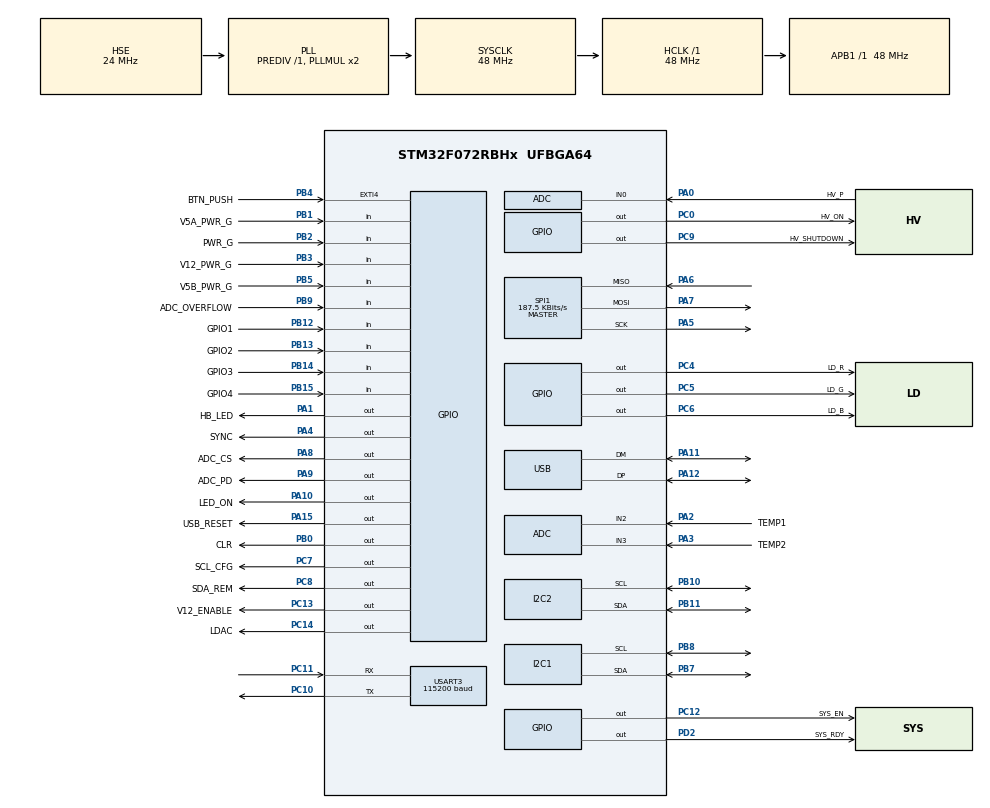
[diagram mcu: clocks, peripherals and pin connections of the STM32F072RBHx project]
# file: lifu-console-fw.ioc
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ADC.ClockPrescaler=ADC_CLOCK_SYNC_PCLK_DIV4
ADC.ContinuousConvMode=ENABLE
ADC.SamplingTime=ADC_SAMPLETIME_28CYCLES_5
Dma.Request0=USART3_RX
Dma.Request1=USART3_TX
Dma.Request2=TIM16_CH1/UP
Dma.TIM16_CH1/UP.2.Direction=DMA_PERIPH_TO_MEMORY
Dma.TIM16_CH1/UP.2.Instance=DMA1_Channel4
Dma.TIM16_CH1/UP.2.MemDataAlignment=DMA_MDATAALIGN_HALFWORD
Dma.TIM16_CH1/UP.2.MemInc=DMA_MINC_ENABLE
Dma.TIM16_CH1/UP.2.Mode=DMA_NORMAL
Dma.TIM16_CH1/UP.2.PeriphDataAlignment=DMA_PDATAALIGN_HALFWORD
Dma.TIM16_CH1/UP.2.PeriphInc=DMA_PINC_DISABLE
Dma.TIM16_CH1/UP.2.Priority=DMA_PRIORITY_LOW
Dma.USART3_RX.0.Direction=DMA_PERIPH_TO_MEMORY
Dma.USART3_RX.0.Instance=DMA1_Channel3
Dma.USART3_RX.0.MemDataAlignment=DMA_MDATAALIGN_BYTE
Dma.USART3_RX.0.MemInc=DMA_MINC_ENABLE
Dma.USART3_RX.0.Mode=DMA_NORMAL
Dma.USART3_RX.0.PeriphDataAlignment=DMA_PDATAALIGN_BYTE
Dma.USART3_RX.0.PeriphInc=DMA_PINC_DISABLE
Dma.USART3_RX.0.Priority=DMA_PRIORITY_LOW
Dma.USART3_TX.1.Direction=DMA_MEMORY_TO_PERIPH
Dma.USART3_TX.1.Instance=DMA1_Channel2
Dma.USART3_TX.1.MemDataAlignment=DMA_MDATAALIGN_BYTE
Dma.USART3_TX.1.MemInc=DMA_MINC_ENABLE
Dma.USART3_TX.1.Mode=DMA_NORMAL
Dma.USART3_TX.1.PeriphDataAlignment=DMA_PDATAALIGN_BYTE
Dma.USART3_TX.1.PeriphInc=DMA_PINC_DISABLE
Dma.USART3_TX.1.Priority=DMA_PRIORITY_LOW
I2C1.Timing=0x00201D2B
I2C2.I2C_Fall_Time=100
I2C2.I2C_Rise_Time=100
I2C2.Timing=0x10805D88
IWDG.Prescaler=IWDG_PRESCALER_64
IWDG.Reload=3125
Mcu.Family=STM32F0
Mcu.Name=STM32F072RBHx
Mcu.Package=UFBGA64
NVIC.DMA1_Channel2_3_IRQn=true\:0\:0\:false\:false\:true\:false\:true\:true
NVIC.DMA1_Channel4_5_6_7_IRQn=true\:0\:0\:false\:false\:true\:false\:true\:true
NVIC.I2C1_IRQn=true\:0\:0\:false\:false\:true\:true\:true\:true
NVIC.I2C2_IRQn=true\:0\:0\:false\:false\:true\:true\:true\:true
NVIC.TIM14_IRQn=true\:0\:0\:false\:false\:true\:true\:true\:true
NVIC.TIM15_IRQn=true\:3\:0\:false\:false\:true\:false\:true\:true
NVIC.TIM16_IRQn=true\:0\:0\:false\:false\:true\:true\:true\:true
NVIC.TIM17_IRQn=true\:0\:0\:false\:false\:true\:true\:true\:true
NVIC.TIM1_BRK_UP_TRG_COM_IRQn=true\:0\:0\:false\:false\:true\:true\:true\:true
NVIC.TIM1_CC_IRQn=true\:0\:0\:false\:false\:true\:true\:true\:true
NVIC.TIM6_DAC_IRQn=true\:0\:0\:false\:false\:true\:true\:true\:true
NVIC.TimeBase=TIM15_IRQn
NVIC.TimeBaseIP=TIM15
NVIC.USART3_4_IRQn=true\:0\:0\:false\:false\:true\:true\:true\:true
NVIC.USB_IRQn=true\:0\:0\:false\:false\:true\:false\:true\:true
PA0.GPIO_Label=HV_P
PA0.Mode=IN0
PA0.Signal=ADC_IN0
PA1.GPIO_Label=HB_LED
PA1.Signal=GPIO_Output
PA10.GPIO_Label=LED_ON
PA10.Signal=GPIO_Output
PA11.Mode=Device
PA11.Signal=USB_DM
PA12.Mode=Device
PA12.Signal=USB_DP
PA13.Mode=Serial_Wire
PA13.Signal=SYS_SWDIO
PA14.Mode=Serial_Wire
PA14.Signal=SYS_SWCLK
PA15.GPIO_Label=USB_RESET
PA15.Signal=GPIO_Output
PA2.GPIO_Label=TEMP1
PA2.Mode=IN2
PA2.Signal=ADC_IN2
PA3.GPIO_Label=TEMP2
PA3.Mode=IN3
PA3.Signal=ADC_IN3
PA4.GPIO_Label=SYNC
PA4.PinState=GPIO_PIN_SET
PA4.Signal=GPIO_Output
PA5.Mode=Full_Duplex_Master
PA5.Signal=SPI1_SCK
PA6.Mode=Full_Duplex_Master
PA6.Signal=SPI1_MISO
PA7.Mode=Full_Duplex_Master
PA7.Signal=SPI1_MOSI
PA8.GPIO_Label=ADC_CS
PA8.PinState=GPIO_PIN_SET
PA8.Signal=GPIO_Output
PA9.GPIO_Label=ADC_PD
PA9.PinState=GPIO_PIN_RESET
PA9.Signal=GPIO_Output
PB0.GPIO_Label=CLR
PB0.PinState=GPIO_PIN_SET
PB0.Signal=GPIO_Output
PB1.GPIO_Label=V5A_PWR_G
PB1.Signal=GPIO_Input
PB10.Mode=I2C
PB10.Signal=I2C2_SCL
PB11.Mode=I2C
PB11.Signal=I2C2_SDA
PB12.GPIO_Label=GPIO1
PB12.GPIO_PuPd=GPIO_PULLUP
PB12.Signal=GPIO_Input
PB13.GPIO_Label=GPIO2
PB13.Signal=GPIO_Input
PB14.GPIO_Label=GPIO3
PB14.Signal=GPIO_Input
PB15.GPIO_Label=GPIO4
PB15.Signal=GPIO_Input
PB2.GPIO_Label=PWR_G
PB2.Signal=GPIO_Input
PB3.GPIO_Label=V12_PWR_G
PB3.Signal=GPIO_Input
PB4.GPIO_Label=BTN_PUSH
PB4.Signal=GPXTI4
PB5.GPIO_Label=V5B_PWR_G
PB5.Signal=GPIO_Input
PB7.Mode=I2C
PB7.Signal=I2C1_SDA
PB8.Mode=I2C
PB8.Signal=I2C1_SCL
PB9.GPIO_Label=ADC_OVERFLOW
PB9.Signal=GPIO_Input
PC0.GPIO_Label=HV_ON
PC0.PinState=GPIO_PIN_SET
PC0.Signal=GPIO_Output
PC10.Mode=Asynchronous
PC10.Signal=USART3_TX
PC11.Mode=Asynchronous
PC11.Signal=USART3_RX
PC12.GPIO_Label=SYS_EN
PC12.Signal=GPIO_Output
PC13.GPIO_Label=V12_ENABLE
PC13.Signal=GPIO_Output
PC14-OSC32_IN.GPIO_Label=LDAC
PC14-OSC32_IN.PinState=GPIO_PIN_SET
PC14-OSC32_IN.Signal=GPIO_Output
PC4.GPIO_Label=LD_R
PC4.PinState=GPIO_PIN_SET
PC4.Signal=GPIO_Output
PC5.GPIO_Label=LD_G
PC5.Signal=GPIO_Output
PC6.GPIO_Label=LD_B
PC6.PinState=GPIO_PIN_SET
PC6.Signal=GPIO_Output
PC7.GPIO_Label=SCL_CFG
PC7.Signal=GPIO_Output
PC8.GPIO_Label=SDA_REM
PC8.Signal=GPIO_Output
PC9.GPIO_Label=HV_SHUTDOWN
PC9.Signal=GPIO_Output
PD2.GPIO_Label=SYS_RDY
PD2.Signal=GPIO_Output
PF0-OSC_IN.Mode=HSE-External-Oscillator
PF0-OSC_IN.Signal=RCC_OSC_IN
PF1-OSC_OUT.Mode=HSE-External-Oscillator
PF1-OSC_OUT.Signal=RCC_OSC_OUT
ProjectManager.HeapSize=0x200
ProjectManager.StackSize=0x400
ProjectManager.TargetToolchain=CMake
RCC.AHBFreq_Value=48000000
RCC.APB1Freq_Value=48000000
RCC.APB1TimFreq_Value=48000000
RCC.HCLKFreq_Value=48000000
RCC.HSE_VALUE=24000000
RCC.PLLSourceVirtual=RCC_PLLSOURCE_HSE
RCC.SYSCLKFreq_VALUE=48000000
RCC.SYSCLKSource=RCC_SYSCLKSOURCE_PLLCLK
SPI1.BaudRatePrescaler=SPI_BAUDRATEPRESCALER_256
SPI1.CLKPhase=SPI_PHASE_2EDGE
SPI1.CLKPolarity=SPI_POLARITY_LOW
SPI1.CalculateBaudRate=187.5 KBits/s
SPI1.DataSize=SPI_DATASIZE_8BIT
SPI1.Direction=SPI_DIRECTION_2LINES
SPI1.Mode=SPI_MODE_MASTER
SPI1.VirtualType=VM_MASTER
TIM1.Period=1000-1
TIM1.Prescaler=48000
TIM14.Period=1000-1
TIM14.Prescaler=48-1
TIM17.Period=1000-1
TIM17.Prescaler=48000-1
TIM2.Prescaler=48-1
TIM6.Period=1000-1
TIM6.Prescaler=4800-1
TIM7.Prescaler=48-1
USART3.BaudRate=115200
USART3.VirtualMode-Asynchronous=VM_ASYNC
USB_DEVICE.CLASS_NAME_FS=CDC
USB_DEVICE.PID_CDC_FS=0x57A0
USB_DEVICE.VID=0x483
USB_DEVICE.VirtualMode=Cdc
USB_DEVICE.VirtualModeFS=Cdc_FS
VP_CRC_VS_CRC.Mode=CRC_Activate
VP_IWDG_VS_IWDG.Mode=IWDG_Activate
VP_SYS_VS_tim15.Mode=TIM15
VP_TIM14_VS_ClockSourceINT.Mode=Enable_Timer
VP_TIM16_VS_ClockSourceINT.Mode=Enable_Timer
VP_TIM17_VS_ClockSourceINT.Mode=Enable_Timer
VP_TIM1_VS_ClockSourceINT.Mode=Internal
VP_TIM2_VS_ClockSourceINT.Mode=Internal
VP_TIM6_VS_ClockSourceINT.Mode=Enable_Timer
VP_TIM7_VS_ClockSourceINT.Mode=Enable_Timer
VP_USB_DEVICE_VS_USB_DEVICE_CDC_FS.Mode=CDC_FS
board=custom

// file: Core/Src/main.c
/* USER CODE BEGIN Header */
/**
  ******************************************************************************
  * @file           : main.c
  * @brief          : Main program body
  ******************************************************************************
  * @attention
  *
  * Copyright (c) 2024 STMicroelectronics.
  * All rights reserved.
  *
  * This software is licensed under terms that can be found in the LICENSE file
  * in the root directory of this software component.
  * If no LICENSE file comes with this software, it is provided AS-IS.
  *
  ******************************************************************************
  */
/* USER CODE END Header */
#include "main.h"
#include "usb_device.h"

/* USER CODE BEGIN Includes */
#include "common.h"
#include "i2c_master.h"
#include "logging.h"
#include "dbg_print.h"
#include "lifu_config.h"
#include "usbd_cdc_if.h"
#include "uart_comms.h"
#include "fan_driver.h"
#include "hv_supply.h"
#include "hv_monitor.h"
#include "utils.h"
#include "rgb.h"

#include "ads8678.h"

#include <stdio.h>
#include <stdbool.h>
#include <string.h>

/* USER CODE END Includes */

/* USER CODE BEGIN PD */

#define BL_BKP_SIGNATURE           (0x4F57424CU) /* 'OWBL' */
#define BL_BKP_REQ_DFU_MAGIC       (0x21554644U) /* 'DFU!' -> Open-LIFU bootloader DFU */

static void bl_bkp_enable(void)
{
	__HAL_RCC_PWR_CLK_ENABLE();
	HAL_PWR_EnableBkUpAccess();

	if ((RCC->BDCR & RCC_BDCR_RTCEN) == 0U)
	{
		if ((RCC->BDCR & RCC_BDCR_RTCSEL) == 0U)
		{
			/* RTCSEL=10b -> LSI (RCC_BDCR_RTCSEL_1) */
			MODIFY_REG(RCC->BDCR, RCC_BDCR_RTCSEL, RCC_BDCR_RTCSEL_1);
		}
		SET_BIT(RCC->BDCR, RCC_BDCR_RTCEN);
	}
}

#ifdef BARE_METAL
/* Bare-metal (developer) builds only. With no bootloader, the STM32 ROM loader
 * is the only DFU: OW_CMD_DFU leaves this request in BKP1R and resets, and
 * main() calls rom_dfu_enter_if_requested() first, with every peripheral still
 * in its reset state. Slot builds (research and clinical, behind the secure
 * bootloader) compile none of this: the ROM loader takes unsigned images, so
 * they have no way to reach it. No bootloader reads this word. */
#define APP_BKP_REQ_ROM_DFU_MAGIC  (0x53554644U) /* 'DFUS' */
#define STM32_SYSTEM_MEMORY_BASE   (0x1FFFC800U) /* STM32F072 ROM loader (AN2606) */

static void rom_dfu_enter_if_requested(void)
{
	bl_bkp_enable();
	if ((RTC->BKP0R != BL_BKP_SIGNATURE) || (RTC->BKP1R != APP_BKP_REQ_ROM_DFU_MAGIC))
	{
		return;
	}
	RTC->BKP1R = 0U;   /* one-shot: the next reset boots the application */

	/* Map the system memory at 0x0 so the ROM loader runs with its own vector
	 * table (the Cortex-M0 has no VTOR), then start it as a reset would. The
	 * IWDG is not running: MX_IWDG_Init() has not been called on this boot and
	 * a software reset stops it (IWDG_SW=1 units). */
	__HAL_RCC_SYSCFG_CLK_ENABLE();
	__HAL_SYSCFG_REMAPMEMORY_SYSTEMFLASH();
	const uint32_t rom_sp    = *(volatile const uint32_t *)STM32_SYSTEM_MEMORY_BASE;
	const uint32_t rom_reset = *(volatile const uint32_t *)(STM32_SYSTEM_MEMORY_BASE + 4U);
	__set_MSP(rom_sp);
	((void (*)(void))rom_reset)();
	for (;;) { }
}
#endif /* BARE_METAL */
/* USER CODE END PD */

ADC_HandleTypeDef hadc;

CRC_HandleTypeDef hcrc;

I2C_HandleTypeDef hi2c1;
I2C_HandleTypeDef hi2c2;

IWDG_HandleTypeDef hiwdg;

SPI_HandleTypeDef hspi1;

TIM_HandleTypeDef htim1;
TIM_HandleTypeDef htim2;
TIM_HandleTypeDef htim6;
TIM_HandleTypeDef htim7;
TIM_HandleTypeDef htim14;
TIM_HandleTypeDef htim16;
TIM_HandleTypeDef htim17;
DMA_HandleTypeDef hdma_tim16_ch1_up;

UART_HandleTypeDef huart3;
DMA_HandleTypeDef hdma_usart3_rx;
DMA_HandleTypeDef hdma_usart3_tx;

/* USER CODE BEGIN PV */
uint8_t rxBuffer[COMMAND_MAX_SIZE];
uint8_t txBuffer[COMMAND_MAX_SIZE];

extern FAN_Driver fan[2];

LifuConfig config;

volatile bool _enter_dfu = false;

/* USER CODE END PV */

void SystemClock_Config(void);
static void MX_GPIO_Init(void);
static void MX_DMA_Init(void);
static void MX_ADC_Init(void);
static void MX_CRC_Init(void);
static void MX_I2C1_Init(void);
static void MX_I2C2_Init(void);
static void MX_SPI1_Init(void);
static void MX_USART3_UART_Init(void);
static void MX_TIM14_Init(void);
static void MX_TIM17_Init(void);
static void MX_TIM6_Init(void);
static void MX_TIM7_Init(void);
static void MX_TIM2_Init(void);
static void MX_IWDG_Init(void);
static void MX_TIM1_Init(void);
static void MX_TIM16_Init(void);
/* USER CODE BEGIN PFP */

void bootloader_mark_boot_ok(void)
{
	bl_bkp_enable();
	RTC->BKP0R = BL_BKP_SIGNATURE;
	RTC->BKP2R = 0U; /* clears in-progress/force bits + failure count */
	RTC->BKP3R = 0U; /* clears last-bad-fw marker */
	__DSB();
	__ISB();
}

static inline void app_iwdg_refresh(void)
{
  /* Bootloader enables IWDG before app jump; refresh it periodically. */
  IWDG->KR = 0xAAAAU;
}

/* TIM1 refreshes the IWDG only while the main loop keeps checking in, so a
 * hung main loop (and with it the HV monitor, hv_monitor.h) resets the
 * console, which comes up with HV off. Worst case from the hang to the reset:
 * MAIN_LOOP_STALE_MS + one TIM1 period (1 s) + the IWDG timeout (5 s). */
#define MAIN_LOOP_STALE_MS 1000U
static volatile uint32_t main_loop_checkin;

void app_watchdog_checkin(void)
{
  main_loop_checkin = HAL_GetTick();
}

static bool main_loop_alive(void)
{
  return HAL_GetTick() - main_loop_checkin <= MAIN_LOOP_STALE_MS;
}

/* USER CODE END PFP */

/* USER CODE BEGIN 0 */
static lifu_cfg_t *cfg;
ADS8678__HandleTypeDef vmon_adc;

/* USER CODE END 0 */

int main(void)
{

  /* USER CODE BEGIN 1 */
#ifdef BARE_METAL
  rom_dfu_enter_if_requested();   /* before any peripheral is touched */
#endif
  /* USER CODE END 1 */

  /* MCU Configuration--------------------------------------------------------*/

  /* Reset of all peripherals, Initializes the Flash interface and the Systick. */
  HAL_Init();

  /* Configure the system clock */
  SystemClock_Config();

  /* Initialize all configured peripherals */
  MX_GPIO_Init();
  MX_DMA_Init();
  MX_ADC_Init();
  MX_CRC_Init();
  MX_I2C1_Init();
  MX_I2C2_Init();
  MX_SPI1_Init();
  MX_USB_DEVICE_Init();
  MX_USART3_UART_Init();
  MX_TIM14_Init();
  MX_TIM17_Init();
  MX_TIM6_Init();
  MX_TIM7_Init();
  MX_TIM2_Init();
  MX_IWDG_Init();
  MX_TIM1_Init();
  MX_TIM16_Init();
  /* USER CODE BEGIN 2 */

  US_Delay_Init();

  DBG_LOG_INIT();
  DBG_PRINTF("\033c");
  DBG_PRINTF("Open-LIFU Console Controller\r\n\r\n");
  DBG_PRINTF("FW: %s (%s)\r\nDate: %s\r\n",
       FW_VERSION_STRING,
       FW_SHA_STRING,
       FW_BUILD_TIME_STRING);

  DBG_PRINTF("CPU Clock Frequency: %lu MHz\r\n", HAL_RCC_GetSysClockFreq() / 1000000);

  // Initialize RGB LED
  RGB_Init();

  // disable power supply
  HV_Disable();
  // clear dac
  HV_ClearDAC();

  HAL_Delay(100);

  cfg = (lifu_cfg_t *)lifu_cfg_get();

  DBG_PRINTF("json=%s seq=%lu\r\n",
         cfg->json,
         (unsigned long)cfg->seq);

  System_Enable();

  // reset hub

  HAL_GPIO_WritePin(USB_RESET_GPIO_Port, USB_RESET_Pin, GPIO_PIN_RESET);
  HAL_GPIO_WritePin(SCL_CFG_GPIO_Port, SCL_CFG_Pin, GPIO_PIN_RESET);
  HAL_GPIO_WritePin(SDA_REM_GPIO_Port, SDA_REM_Pin, GPIO_PIN_RESET);

  // bring usb hub out of reset
  HAL_GPIO_WritePin(USB_RESET_GPIO_Port, USB_RESET_Pin, GPIO_PIN_SET);

  HAL_Delay(300);

  MX_USB_DEVICE_Init();

  HV_RegisterInterlock();

  /* USER CODE END 2 */

  /* Infinite loop */
  /* USER CODE BEGIN WHILE */
  DBG_PRINTF("\r\nController initialize and running\r\n");
  HAL_GPIO_WritePin(SYS_RDY_GPIO_Port, SYS_RDY_Pin, GPIO_PIN_RESET);
  HAL_GPIO_WritePin(HB_LED_GPIO_Port, HB_LED_Pin, GPIO_PIN_SET);

  //DBG_PRINTF("I2C1 \r\n");
  //I2C_scan(&hi2c1);  // 0x49

  // DBG_PRINTF("I2C2 \r\n");
  // I2C_scan(&hi2c2);  // 0x6D

  vmon_adc.spi = &hspi1;
  vmon_adc.cs_port = ADC_CS_GPIO_Port;
  vmon_adc.cs_pin = ADC_CS_Pin;
  vmon_adc.rst_port = ADC_PD_GPIO_Port;
  vmon_adc.rst_pin = ADC_PD_Pin;
  vmon_adc.spi_timeout_ms = 100;

  HAL_Delay(150);

  DBG_PRINTF("\r\nTurning 12V on\r\n");
  HAL_GPIO_WritePin(V12_ENABLE_GPIO_Port, V12_ENABLE_Pin, GPIO_PIN_SET);

  HAL_Delay(150);

  // Initialize Bottom Fan
  FAN_Init(&fan[0], &hi2c2, 0x2E);

  uint8_t fan_btm_dev_id = FAN_ReadDeviceID(&fan[0]);
  uint8_t fan_btm_mfg_id = FAN_ReadManufacturerID(&fan[0]);
  if(fan_btm_dev_id != MAX6663_DEVICE_ID && fan_btm_mfg_id != MAX6663_MAN_ID) {
	  DBG_PRINTF("Failed to initialize Top Fan IC\r\n");
  } else {
	  DBG_PRINTF("Bottom Fan MAX6663 Device ID: 0x%02X, Manufacturer ID: 0x%02X\r\n", fan_btm_dev_id, fan_btm_mfg_id);

	  if(!FAN_EnableMonitoring(&fan[0])){
		  DBG_PRINTF("Failed to enable fan monitoring\r\n");
	  }

	  FAN_SetManualPWM(&fan[0], 0);
  }

  // Initialize Top Fan
  FAN_Init(&fan[1], &hi2c2, 0x2C);

  uint8_t fan_top_dev_id = FAN_ReadDeviceID(&fan[1]);
  uint8_t fan_top_mfg_id = FAN_ReadManufacturerID(&fan[1]);
  if(fan_top_dev_id != MAX6663_DEVICE_ID && fan_top_mfg_id != MAX6663_MAN_ID) {
	  DBG_PRINTF("Failed to initialize Top Fan IC\r\n");
  } else {
	  DBG_PRINTF("Top Fan MAX6663 Device ID: 0x%02X, Manufacturer ID: 0x%02X\r\n", fan_top_dev_id, fan_top_mfg_id);

	  if(!FAN_EnableMonitoring(&fan[1])){
		  DBG_PRINTF("Failed to enable fan monitoring\r\n");
	  }

	  FAN_SetManualPWM(&fan[1], 0);
  }

  // Initialize the ADS8678 ADC
  if (ADS8678_Init(&vmon_adc) == HAL_OK) {
      DBG_PRINTF("ADS8678 initialized successfully\r\n");
      HAL_Delay(100);
      // Read all ADC channels and display voltages
      read_all_adc_channels(&vmon_adc, NULL);

  } else {
      DBG_PRINTF("Failed to initialize ADS8678\r\n");
  }

  app_watchdog_checkin();
  if(HAL_TIM_Base_Start_IT(&htim1) != HAL_OK){
    Error_Handler();
  }
  bootloader_mark_boot_ok();
  app_iwdg_refresh();

  comms_start_task();

  while (1)
  {
    /* USER CODE END WHILE */

    /* USER CODE BEGIN 3 */
    HAL_GPIO_TogglePin(HB_LED_GPIO_Port, HB_LED_Pin);
    HAL_Delay(250);
  }
  /* USER CODE END 3 */
}

void SystemClock_Config(void)
{
  RCC_OscInitTypeDef RCC_OscInitStruct = {0};
  RCC_ClkInitTypeDef RCC_ClkInitStruct = {0};
  RCC_PeriphCLKInitTypeDef PeriphClkInit = {0};

  /** Initializes the RCC Oscillators according to the specified parameters
  * in the RCC_OscInitTypeDef structure.
  */
  RCC_OscInitStruct.OscillatorType = RCC_OSCILLATORTYPE_HSI|RCC_OSCILLATORTYPE_HSI48
                              |RCC_OSCILLATORTYPE_LSI|RCC_OSCILLATORTYPE_HSE;
  RCC_OscInitStruct.HSEState = RCC_HSE_ON;
  RCC_OscInitStruct.HSIState = RCC_HSI_ON;
  RCC_OscInitStruct.HSI48State = RCC_HSI48_ON;
  RCC_OscInitStruct.HSICalibrationValue = RCC_HSICALIBRATION_DEFAULT;
  RCC_OscInitStruct.LSIState = RCC_LSI_ON;
  RCC_OscInitStruct.PLL.PLLState = RCC_PLL_ON;
  RCC_OscInitStruct.PLL.PLLSource = RCC_PLLSOURCE_HSE;
  RCC_OscInitStruct.PLL.PLLMUL = RCC_PLL_MUL2;
  RCC_OscInitStruct.PLL.PREDIV = RCC_PREDIV_DIV1;
  if (HAL_RCC_OscConfig(&RCC_OscInitStruct) != HAL_OK)
  {
    Error_Handler();
  }

  /** Initializes the CPU, AHB and APB buses clocks
  */
  RCC_ClkInitStruct.ClockType = RCC_CLOCKTYPE_HCLK|RCC_CLOCKTYPE_SYSCLK
                              |RCC_CLOCKTYPE_PCLK1;
  RCC_ClkInitStruct.SYSCLKSource = RCC_SYSCLKSOURCE_PLLCLK;
  RCC_ClkInitStruct.AHBCLKDivider = RCC_SYSCLK_DIV1;
  RCC_ClkInitStruct.APB1CLKDivider = RCC_HCLK_DIV1;

  if (HAL_RCC_ClockConfig(&RCC_ClkInitStruct, FLASH_LATENCY_1) != HAL_OK)
  {
    Error_Handler();
  }
  PeriphClkInit.PeriphClockSelection = RCC_PERIPHCLK_USB|RCC_PERIPHCLK_I2C1;
  PeriphClkInit.I2c1ClockSelection = RCC_I2C1CLKSOURCE_HSI;
  PeriphClkInit.UsbClockSelection = RCC_USBCLKSOURCE_HSI48;

  if (HAL_RCCEx_PeriphCLKConfig(&PeriphClkInit) != HAL_OK)
  {
    Error_Handler();
  }
}

static void MX_ADC_Init(void)
{

  ADC_ChannelConfTypeDef sConfig = {0};

  /** Configure the global features of the ADC (Clock, Resolution, Data Alignment and number of conversion)
  */
  hadc.Instance = ADC1;
  hadc.Init.ClockPrescaler = ADC_CLOCK_SYNC_PCLK_DIV4;
  hadc.Init.Resolution = ADC_RESOLUTION_12B;
  hadc.Init.DataAlign = ADC_DATAALIGN_RIGHT;
  hadc.Init.ScanConvMode = ADC_SCAN_DIRECTION_FORWARD;
  hadc.Init.EOCSelection = ADC_EOC_SINGLE_CONV;
  hadc.Init.LowPowerAutoWait = DISABLE;
  hadc.Init.LowPowerAutoPowerOff = DISABLE;
  hadc.Init.ContinuousConvMode = ENABLE;
  hadc.Init.DiscontinuousConvMode = DISABLE;
  hadc.Init.ExternalTrigConv = ADC_SOFTWARE_START;
  hadc.Init.ExternalTrigConvEdge = ADC_EXTERNALTRIGCONVEDGE_NONE;
  hadc.Init.DMAContinuousRequests = DISABLE;
  hadc.Init.Overrun = ADC_OVR_DATA_PRESERVED;
  if (HAL_ADC_Init(&hadc) != HAL_OK)
  {
    Error_Handler();
  }

  /** Configure for the selected ADC regular channel to be converted.
  */
  sConfig.Channel = ADC_CHANNEL_0;
  sConfig.Rank = ADC_RANK_CHANNEL_NUMBER;
  sConfig.SamplingTime = ADC_SAMPLETIME_28CYCLES_5;
  if (HAL_ADC_ConfigChannel(&hadc, &sConfig) != HAL_OK)
  {
    Error_Handler();
  }

  /** Configure for the selected ADC regular channel to be converted.
  */
  sConfig.Channel = ADC_CHANNEL_2;
  if (HAL_ADC_ConfigChannel(&hadc, &sConfig) != HAL_OK)
  {
    Error_Handler();
  }

  /** Configure for the selected ADC regular channel to be converted.
  */
  sConfig.Channel = ADC_CHANNEL_3;
  if (HAL_ADC_ConfigChannel(&hadc, &sConfig) != HAL_OK)
  {
    Error_Handler();
  }

}

static void MX_CRC_Init(void)
{

  hcrc.Instance = CRC;
  hcrc.Init.DefaultPolynomialUse = DEFAULT_POLYNOMIAL_ENABLE;
  hcrc.Init.DefaultInitValueUse = DEFAULT_INIT_VALUE_ENABLE;
  hcrc.Init.InputDataInversionMode = CRC_INPUTDATA_INVERSION_NONE;
  hcrc.Init.OutputDataInversionMode = CRC_OUTPUTDATA_INVERSION_DISABLE;
  hcrc.InputDataFormat = CRC_INPUTDATA_FORMAT_BYTES;
  if (HAL_CRC_Init(&hcrc) != HAL_OK)
  {
    Error_Handler();
  }

}

static void MX_I2C1_Init(void)
{

  hi2c1.Instance = I2C1;
  hi2c1.Init.Timing = 0x00201D2B;
  hi2c1.Init.OwnAddress1 = 0;
  hi2c1.Init.AddressingMode = I2C_ADDRESSINGMODE_7BIT;
  hi2c1.Init.DualAddressMode = I2C_DUALADDRESS_DISABLE;
  hi2c1.Init.OwnAddress2 = 0;
  hi2c1.Init.OwnAddress2Masks = I2C_OA2_NOMASK;
  hi2c1.Init.GeneralCallMode = I2C_GENERALCALL_DISABLE;
  hi2c1.Init.NoStretchMode = I2C_NOSTRETCH_DISABLE;
  if (HAL_I2C_Init(&hi2c1) != HAL_OK)
  {
    Error_Handler();
  }

  /** Configure Analogue filter
  */
  if (HAL_I2CEx_ConfigAnalogFilter(&hi2c1, I2C_ANALOGFILTER_ENABLE) != HAL_OK)
  {
    Error_Handler();
  }

  /** Configure Digital filter
  */
  if (HAL_I2CEx_ConfigDigitalFilter(&hi2c1, 0) != HAL_OK)
  {
    Error_Handler();
  }

}

static void MX_I2C2_Init(void)
{

  hi2c2.Instance = I2C2;
  hi2c2.Init.Timing = 0x10805D88;
  hi2c2.Init.OwnAddress1 = 0;
  hi2c2.Init.AddressingMode = I2C_ADDRESSINGMODE_7BIT;
  hi2c2.Init.DualAddressMode = I2C_DUALADDRESS_DISABLE;
  hi2c2.Init.OwnAddress2 = 0;
  hi2c2.Init.OwnAddress2Masks = I2C_OA2_NOMASK;
  hi2c2.Init.GeneralCallMode = I2C_GENERALCALL_DISABLE;
  hi2c2.Init.NoStretchMode = I2C_NOSTRETCH_DISABLE;
  if (HAL_I2C_Init(&hi2c2) != HAL_OK)
  {
    Error_Handler();
  }

  /** Configure Analogue filter
  */
  if (HAL_I2CEx_ConfigAnalogFilter(&hi2c2, I2C_ANALOGFILTER_ENABLE) != HAL_OK)
  {
    Error_Handler();
  }

  /** Configure Digital filter
  */
  if (HAL_I2CEx_ConfigDigitalFilter(&hi2c2, 0) != HAL_OK)
  {
    Error_Handler();
  }

}

static void MX_IWDG_Init(void)
{

  hiwdg.Instance = IWDG;
  hiwdg.Init.Prescaler = IWDG_PRESCALER_64;
  hiwdg.Init.Window = 4095;
  hiwdg.Init.Reload = 3125;
  if (HAL_IWDG_Init(&hiwdg) != HAL_OK)
  {
    Error_Handler();
  }

}

static void MX_SPI1_Init(void)
{

  /* SPI1 parameter configuration*/
  hspi1.Instance = SPI1;
  hspi1.Init.Mode = SPI_MODE_MASTER;
  hspi1.Init.Direction = SPI_DIRECTION_2LINES;
  hspi1.Init.DataSize = SPI_DATASIZE_8BIT;
  hspi1.Init.CLKPolarity = SPI_POLARITY_LOW;
  hspi1.Init.CLKPhase = SPI_PHASE_2EDGE;
  hspi1.Init.NSS = SPI_NSS_SOFT;
  hspi1.Init.BaudRatePrescaler = SPI_BAUDRATEPRESCALER_256;
  hspi1.Init.FirstBit = SPI_FIRSTBIT_MSB;
  hspi1.Init.TIMode = SPI_TIMODE_DISABLE;
  hspi1.Init.CRCCalculation = SPI_CRCCALCULATION_DISABLE;
  hspi1.Init.CRCPolynomial = 7;
  hspi1.Init.CRCLength = SPI_CRC_LENGTH_DATASIZE;
  hspi1.Init.NSSPMode = SPI_NSS_PULSE_DISABLE;
  if (HAL_SPI_Init(&hspi1) != HAL_OK)
  {
    Error_Handler();
  }

}

static void MX_TIM1_Init(void)
{

  TIM_ClockConfigTypeDef sClockSourceConfig = {0};
  TIM_MasterConfigTypeDef sMasterConfig = {0};

  htim1.Instance = TIM1;
  htim1.Init.Prescaler = 48000;
  htim1.Init.CounterMode = TIM_COUNTERMODE_UP;
  htim1.Init.Period = 1000-1;
  htim1.Init.ClockDivision = TIM_CLOCKDIVISION_DIV1;
  htim1.Init.RepetitionCounter = 0;
  htim1.Init.AutoReloadPreload = TIM_AUTORELOAD_PRELOAD_DISABLE;
  if (HAL_TIM_Base_Init(&htim1) != HAL_OK)
  {
    Error_Handler();
  }
  sClockSourceConfig.ClockSource = TIM_CLOCKSOURCE_INTERNAL;
  if (HAL_TIM_ConfigClockSource(&htim1, &sClockSourceConfig) != HAL_OK)
  {
    Error_Handler();
  }
  sMasterConfig.MasterOutputTrigger = TIM_TRGO_RESET;
  sMasterConfig.MasterSlaveMode = TIM_MASTERSLAVEMODE_DISABLE;
  if (HAL_TIMEx_MasterConfigSynchronization(&htim1, &sMasterConfig) != HAL_OK)
  {
    Error_Handler();
  }
  /* USER CODE BEGIN TIM1_Init 2 */
  /* Enable TIM1 update IRQ (break/update/trigger/comm)
     so HAL_TIM_IRQHandler can call the period callback. */
  HAL_NVIC_SetPriority(TIM1_BRK_UP_TRG_COM_IRQn, 1, 0);
  HAL_NVIC_EnableIRQ(TIM1_BRK_UP_TRG_COM_IRQn);

  /* USER CODE END TIM1_Init 2 */

}

static void MX_TIM2_Init(void)
{

  TIM_ClockConfigTypeDef sClockSourceConfig = {0};
  TIM_MasterConfigTypeDef sMasterConfig = {0};

  htim2.Instance = TIM2;
  htim2.Init.Prescaler = 48-1;
  htim2.Init.CounterMode = TIM_COUNTERMODE_UP;
  htim2.Init.Period = 4294967295;
  htim2.Init.ClockDivision = TIM_CLOCKDIVISION_DIV1;
  htim2.Init.AutoReloadPreload = TIM_AUTORELOAD_PRELOAD_DISABLE;
  if (HAL_TIM_Base_Init(&htim2) != HAL_OK)
  {
    Error_Handler();
  }
  sClockSourceConfig.ClockSource = TIM_CLOCKSOURCE_INTERNAL;
  if (HAL_TIM_ConfigClockSource(&htim2, &sClockSourceConfig) != HAL_OK)
  {
    Error_Handler();
  }
  sMasterConfig.MasterOutputTrigger = TIM_TRGO_RESET;
  sMasterConfig.MasterSlaveMode = TIM_MASTERSLAVEMODE_DISABLE;
  if (HAL_TIMEx_MasterConfigSynchronization(&htim2, &sMasterConfig) != HAL_OK)
  {
    Error_Handler();
  }

}

static void MX_TIM6_Init(void)
{

  TIM_MasterConfigTypeDef sMasterConfig = {0};

  htim6.Instance = TIM6;
  htim6.Init.Prescaler = 4800-1;
  htim6.Init.CounterMode = TIM_COUNTERMODE_UP;
  htim6.Init.Period = 1000-1;
  htim6.Init.AutoReloadPreload = TIM_AUTORELOAD_PRELOAD_DISABLE;
  if (HAL_TIM_Base_Init(&htim6) != HAL_OK)
  {
    Error_Handler();
  }
  sMasterConfig.MasterOutputTrigger = TIM_TRGO_RESET;
  sMasterConfig.MasterSlaveMode = TIM_MASTERSLAVEMODE_DISABLE;
  if (HAL_TIMEx_MasterConfigSynchronization(&htim6, &sMasterConfig) != HAL_OK)
  {
    Error_Handler();
  }

}

static void MX_TIM7_Init(void)
{

  TIM_MasterConfigTypeDef sMasterConfig = {0};

  htim7.Instance = TIM7;
  htim7.Init.Prescaler = 48-1;
  htim7.Init.CounterMode = TIM_COUNTERMODE_UP;
  htim7.Init.Period = 65535;
  htim7.Init.AutoReloadPreload = TIM_AUTORELOAD_PRELOAD_DISABLE;
  if (HAL_TIM_Base_Init(&htim7) != HAL_OK)
  {
    Error_Handler();
  }
  sMasterConfig.MasterOutputTrigger = TIM_TRGO_RESET;
  sMasterConfig.MasterSlaveMode = TIM_MASTERSLAVEMODE_DISABLE;
  if (HAL_TIMEx_MasterConfigSynchronization(&htim7, &sMasterConfig) != HAL_OK)
  {
    Error_Handler();
  }

}

static void MX_TIM14_Init(void)
{

  htim14.Instance = TIM14;
  htim14.Init.Prescaler = 48-1;
  htim14.Init.CounterMode = TIM_COUNTERMODE_UP;
  htim14.Init.Period = 1000-1;
  htim14.Init.ClockDivision = TIM_CLOCKDIVISION_DIV1;
  htim14.Init.AutoReloadPreload = TIM_AUTORELOAD_PRELOAD_DISABLE;
  if (HAL_TIM_Base_Init(&htim14) != HAL_OK)
  {
    Error_Handler();
  }

}

static void MX_TIM16_Init(void)
{

  htim16.Instance = TIM16;
  htim16.Init.Prescaler = 0;
  htim16.Init.CounterMode = TIM_COUNTERMODE_UP;
  htim16.Init.Period = 65535;
  htim16.Init.ClockDivision = TIM_CLOCKDIVISION_DIV1;
  htim16.Init.RepetitionCounter = 0;
  htim16.Init.AutoReloadPreload = TIM_AUTORELOAD_PRELOAD_DISABLE;
  if (HAL_TIM_Base_Init(&htim16) != HAL_OK)
  {
    Error_Handler();
  }

}

static void MX_TIM17_Init(void)
{

  htim17.Instance = TIM17;
  htim17.Init.Prescaler = 48000-1;
  htim17.Init.CounterMode = TIM_COUNTERMODE_UP;
  htim17.Init.Period = 1000-1;
  htim17.Init.ClockDivision = TIM_CLOCKDIVISION_DIV1;
  htim17.Init.RepetitionCounter = 0;
  htim17.Init.AutoReloadPreload = TIM_AUTORELOAD_PRELOAD_DISABLE;
  if (HAL_TIM_Base_Init(&htim17) != HAL_OK)
  {
    Error_Handler();
  }

}

static void MX_USART3_UART_Init(void)
{

  huart3.Instance = USART3;
  huart3.Init.BaudRate = 115200;
  huart3.Init.WordLength = UART_WORDLENGTH_8B;
  huart3.Init.StopBits = UART_STOPBITS_1;
  huart3.Init.Parity = UART_PARITY_NONE;
  huart3.Init.Mode = UART_MODE_TX_RX;
  huart3.Init.HwFlowCtl = UART_HWCONTROL_NONE;
  huart3.Init.OverSampling = UART_OVERSAMPLING_16;
  huart3.Init.OneBitSampling = UART_ONE_BIT_SAMPLE_DISABLE;
  huart3.AdvancedInit.AdvFeatureInit = UART_ADVFEATURE_NO_INIT;
  if (HAL_UART_Init(&huart3) != HAL_OK)
  {
    Error_Handler();
  }

}

static void MX_DMA_Init(void)
{

  /* DMA controller clock enable */
  __HAL_RCC_DMA1_CLK_ENABLE();

  /* DMA interrupt init */
  /* DMA1_Channel2_3_IRQn interrupt configuration */
  HAL_NVIC_SetPriority(DMA1_Channel2_3_IRQn, 0, 0);
  HAL_NVIC_EnableIRQ(DMA1_Channel2_3_IRQn);
  /* DMA1_Channel4_5_6_7_IRQn interrupt configuration */
  HAL_NVIC_SetPriority(DMA1_Channel4_5_6_7_IRQn, 0, 0);
  HAL_NVIC_EnableIRQ(DMA1_Channel4_5_6_7_IRQn);

}

static void MX_GPIO_Init(void)
{
  GPIO_InitTypeDef GPIO_InitStruct = {0};

  /* GPIO Ports Clock Enable */
  __HAL_RCC_GPIOC_CLK_ENABLE();
  __HAL_RCC_GPIOB_CLK_ENABLE();
  __HAL_RCC_GPIOA_CLK_ENABLE();
  __HAL_RCC_GPIOD_CLK_ENABLE();
  __HAL_RCC_GPIOF_CLK_ENABLE();

  /*Configure GPIO pin Output Level */
  HAL_GPIO_WritePin(GPIOC, LDAC_Pin|HV_ON_Pin|LD_B_Pin|LD_R_Pin, GPIO_PIN_SET);

  /*Configure GPIO pin Output Level */
  HAL_GPIO_WritePin(GPIOC, V12_ENABLE_Pin|SYS_EN_Pin|HV_SHUTDOWN_Pin|SCL_CFG_Pin
                          |SDA_REM_Pin|LD_G_Pin, GPIO_PIN_RESET);

  /*Configure GPIO pin Output Level */
  HAL_GPIO_WritePin(GPIOA, USB_RESET_Pin|LED_ON_Pin|ADC_PD_Pin|HB_LED_Pin, GPIO_PIN_RESET);

  /*Configure GPIO pin Output Level */
  HAL_GPIO_WritePin(SYS_RDY_GPIO_Port, SYS_RDY_Pin, GPIO_PIN_RESET);

  /*Configure GPIO pin Output Level */
  HAL_GPIO_WritePin(GPIOA, ADC_CS_Pin|SYNC_Pin, GPIO_PIN_SET);

  /*Configure GPIO pin Output Level */
  HAL_GPIO_WritePin(CLR_GPIO_Port, CLR_Pin, GPIO_PIN_SET);

  /*Configure GPIO pins : LDAC_Pin V12_ENABLE_Pin SYS_EN_Pin HV_SHUTDOWN_Pin
                           HV_ON_Pin SCL_CFG_Pin SDA_REM_Pin LD_B_Pin
                           LD_R_Pin LD_G_Pin */
  GPIO_InitStruct.Pin = LDAC_Pin|V12_ENABLE_Pin|SYS_EN_Pin|HV_SHUTDOWN_Pin
                          |HV_ON_Pin|SCL_CFG_Pin|SDA_REM_Pin|LD_B_Pin
                          |LD_R_Pin|LD_G_Pin;
  GPIO_InitStruct.Mode = GPIO_MODE_OUTPUT_PP;
  GPIO_InitStruct.Pull = GPIO_NOPULL;
  GPIO_InitStruct.Speed = GPIO_SPEED_FREQ_LOW;
  HAL_GPIO_Init(GPIOC, &GPIO_InitStruct);

  /*Configure GPIO pins : ADC_OVERFLOW_Pin V12_PWR_G_Pin V5B_PWR_G_Pin GPIO4_Pin
                           GPIO3_Pin V5A_PWR_G_Pin PWR_G_Pin GPIO2_Pin */
  GPIO_InitStruct.Pin = ADC_OVERFLOW_Pin|V12_PWR_G_Pin|V5B_PWR_G_Pin|GPIO4_Pin
                          |GPIO3_Pin|V5A_PWR_G_Pin|PWR_G_Pin|GPIO2_Pin;
  GPIO_InitStruct.Mode = GPIO_MODE_INPUT;
  GPIO_InitStruct.Pull = GPIO_NOPULL;
  HAL_GPIO_Init(GPIOB, &GPIO_InitStruct);

  /*Configure GPIO pin : BTN_PUSH_Pin */
  GPIO_InitStruct.Pin = BTN_PUSH_Pin;
  GPIO_InitStruct.Mode = GPIO_MODE_IT_RISING;
  GPIO_InitStruct.Pull = GPIO_NOPULL;
  HAL_GPIO_Init(BTN_PUSH_GPIO_Port, &GPIO_InitStruct);

  /*Configure GPIO pins : USB_RESET_Pin LED_ON_Pin ADC_PD_Pin ADC_CS_Pin
                           HB_LED_Pin SYNC_Pin */
  GPIO_InitStruct.Pin = USB_RESET_Pin|LED_ON_Pin|ADC_PD_Pin|ADC_CS_Pin
                          |HB_LED_Pin|SYNC_Pin;
  GPIO_InitStruct.Mode = GPIO_MODE_OUTPUT_PP;
  GPIO_InitStruct.Pull = GPIO_NOPULL;
  GPIO_InitStruct.Speed = GPIO_SPEED_FREQ_LOW;
  HAL_GPIO_Init(GPIOA, &GPIO_InitStruct);

  /*Configure GPIO pin : SYS_RDY_Pin */
  GPIO_InitStruct.Pin = SYS_RDY_Pin;
  GPIO_InitStruct.Mode = GPIO_MODE_OUTPUT_PP;
  GPIO_InitStruct.Pull = GPIO_NOPULL;
  GPIO_InitStruct.Speed = GPIO_SPEED_FREQ_LOW;
  HAL_GPIO_Init(SYS_RDY_GPIO_Port, &GPIO_InitStruct);

  /*Configure GPIO pin : CLR_Pin */
  GPIO_InitStruct.Pin = CLR_Pin;
  GPIO_InitStruct.Mode = GPIO_MODE_OUTPUT_PP;
  GPIO_InitStruct.Pull = GPIO_NOPULL;
  GPIO_InitStruct.Speed = GPIO_SPEED_FREQ_LOW;
  HAL_GPIO_Init(CLR_GPIO_Port, &GPIO_InitStruct);

  /*Configure GPIO pin : GPIO1_Pin */
  GPIO_InitStruct.Pin = GPIO1_Pin;
  GPIO_InitStruct.Mode = GPIO_MODE_INPUT;
  GPIO_InitStruct.Pull = GPIO_PULLUP;
  HAL_GPIO_Init(GPIO1_GPIO_Port, &GPIO_InitStruct);

}

/* USER CODE BEGIN 4 */

void comms_idle(void)
{
  app_watchdog_checkin();
  hv_monitor_poll();
}

void HAL_UART_RxCpltCallback(UART_HandleTypeDef *huart)
{

}

void HAL_UART_TxCpltCallback(UART_HandleTypeDef *huart)
{
	if(huart->Instance == USART3)
	{
		DBG_LOG_TXCPLT(huart);
	}
}

/* USER CODE END 4 */

void HAL_TIM_PeriodElapsedCallback(TIM_HandleTypeDef *htim)
{
  /* USER CODE BEGIN Callback 0 */
  if(htim->Instance == TIM1) {
    if (main_loop_alive()) app_iwdg_refresh();
  }

  if (htim->Instance == TIM14) {
	  CDC_Idle_Timer_Handler();
  }

  if (htim->Instance == TIM6) {

  	// set regulator DACs
	  set_current_dac();

  }

  /* USER CODE END Callback 0 */
  if (htim->Instance == TIM15)
  {
    HAL_IncTick();
  }
  /* USER CODE BEGIN Callback 1 */
  if (htim->Instance == TIM17) {
      // Stop the timer to prevent re-triggering
      HAL_TIM_Base_Stop_IT(htim);

      if(_enter_dfu){
        bl_bkp_enable();
        RTC->BKP0R = BL_BKP_SIGNATURE;
#ifdef BARE_METAL
        // No bootloader: main() enters the STM32 ROM loader on the way back up.
        RTC->BKP1R = APP_BKP_REQ_ROM_DFU_MAGIC;
#else
        // The secure bootloader's DFU, which takes signed images only.
        RTC->BKP1R = BL_BKP_REQ_DFU_MAGIC;
#endif
      }

      MX_USB_DEVICE_DeInit();

      __DSB();
      __ISB();
      delay_ms(200);

	  // Reset the board
	  NVIC_SystemReset();
  }
  /* USER CODE END Callback 1 */
}

void Error_Handler(void)
{
  /* USER CODE BEGIN Error_Handler_Debug */
  /* User can add his own implementation to report the HAL error return state */

  __disable_irq();
  while (1)
  {
    RGB_Set(RGB_BLUE);
    delay_ms(500);
    RGB_Set(RGB_OFF);
    delay_ms(500);
  }
  /* USER CODE END Error_Handler_Debug */
}
#ifdef USE_FULL_ASSERT
/**
  * @brief  Reports the name of the source file and the source line number
  *         where the assert_param error has occurred.
  * @param  file: pointer to the source file name
  * @param  line: assert_param error line source number
  * @retval None
  */
void assert_failed(uint8_t *file, uint32_t line)
{
  /* USER CODE BEGIN 6 */
  /* User can add his own implementation to report the file name and line number,
     ex: DBG_PRINTF("Wrong parameters value: file %s on line %d\r\n", file, line) */
  /* USER CODE END 6 */
}
#endif /* USE_FULL_ASSERT */
